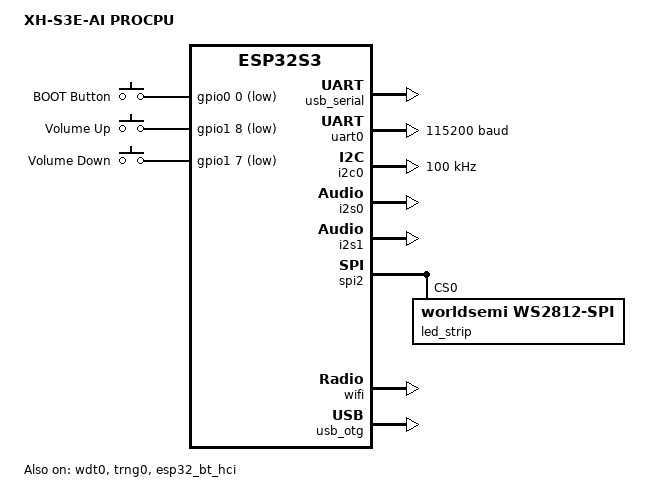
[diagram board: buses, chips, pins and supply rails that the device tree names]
/*
 * Copyright (c) 2026 Anuj Deshpande
 *
 * SPDX-License-Identifier: Apache-2.0
 */
/dts-v1/;

#include <espressif/esp32s3/esp32s3_wroom_n16r8.dtsi>
#include <zephyr/dt-bindings/input/input-event-codes.h>
#include <zephyr/dt-bindings/led/led.h>
#include <zephyr/dt-bindings/led/worldsemi_ws2812c.h>
#include <espressif/partitions_0x0_amp_16M.dtsi>
#include "xh_s3e_ai-pinctrl.dtsi"

/ {
	model = "XH-S3E-AI PROCPU";
	compatible = "espressif,esp32s3";

	aliases {
		i2c-0 = &i2c0;
		watchdog0 = &wdt0;
		uart-0 = &uart0;
		sw0 = &button0;
		sw1 = &button_vol_up;
		sw2 = &button_vol_down;
		led-strip = &led_strip;
	};

	chosen {
		zephyr,sram = &sram1;
		zephyr,console = &usb_serial;
		zephyr,shell-uart = &usb_serial;
		zephyr,flash = &flash0;
		zephyr,code-partition = &slot0_partition;
		zephyr,bt-hci = &esp32_bt_hci;
	};

	buttons {
		compatible = "gpio-keys";

		button0: button_0 {
			gpios = <&gpio0 0 (GPIO_PULL_UP | GPIO_ACTIVE_LOW)>;
			label = "BOOT Button";
			zephyr,code = <INPUT_KEY_0>;
		};

		button_vol_up: button_vol_up {
			gpios = <&gpio1 8 (GPIO_PULL_UP | GPIO_ACTIVE_LOW)>;
			label = "Volume Up";
			zephyr,code = <INPUT_KEY_VOLUMEUP>;
		};

		button_vol_down: button_vol_down {
			gpios = <&gpio1 7 (GPIO_PULL_UP | GPIO_ACTIVE_LOW)>;
			label = "Volume Down";
			zephyr,code = <INPUT_KEY_VOLUMEDOWN>;
		};
	};
};

/* Native USB Serial/JTAG (USB-C) used for console and flashing */
&usb_serial {
	status = "okay";
};

/* UART0 is broken out on the pin header (silkscreen RXO/TXO) */
&uart0 {
	status = "okay";
	current-speed = <115200>;
	pinctrl-0 = <&uart0_default>;
	pinctrl-names = "default";
};

&gpio0 {
	status = "okay";
};

&gpio1 {
	status = "okay";
};

&i2c0 {
	status = "okay";
	clock-frequency = <I2C_BITRATE_STANDARD>;
	pinctrl-0 = <&i2c0_default>;
	pinctrl-names = "default";
};

/* I2S0: output to the NS4168 class-D speaker amplifier */
&i2s0 {
	status = "okay";
	pinctrl-0 = <&i2s0_default>;
	pinctrl-names = "default";
};

/* I2S1: input from the on-board I2S MEMS microphone */
&i2s1 {
	status = "okay";
	pinctrl-0 = <&i2s1_default>;
	pinctrl-names = "default";
};

&spi2 {
	status = "okay";
	#address-cells = <1>;
	#size-cells = <0>;
	pinctrl-0 = <&spim2_ws2812_led>;
	pinctrl-names = "default";
	line-idle-low;

	led_strip: ws2812@0 {
		compatible = "worldsemi,ws2812-spi";
		reg = <0>;
		spi-max-frequency = <WS2812C_SPI_FREQ>;
		chain-length = <1>;
		color-mapping = <LED_COLOR_ID_GREEN>,
				<LED_COLOR_ID_RED>,
				<LED_COLOR_ID_BLUE>;
		spi-one-frame = <WS2812C_ONE_FRAME>;
		spi-zero-frame = <WS2812C_ZERO_FRAME>;
	};
};

&dma {
	status = "okay";
};

&wdt0 {
	status = "okay";
};

&trng0 {
	status = "okay";
};

&esp32_bt_hci {
	status = "okay";
};

&wifi {
	status = "okay";
};

zephyr_udc0: &usb_otg {
	status = "okay";
};
